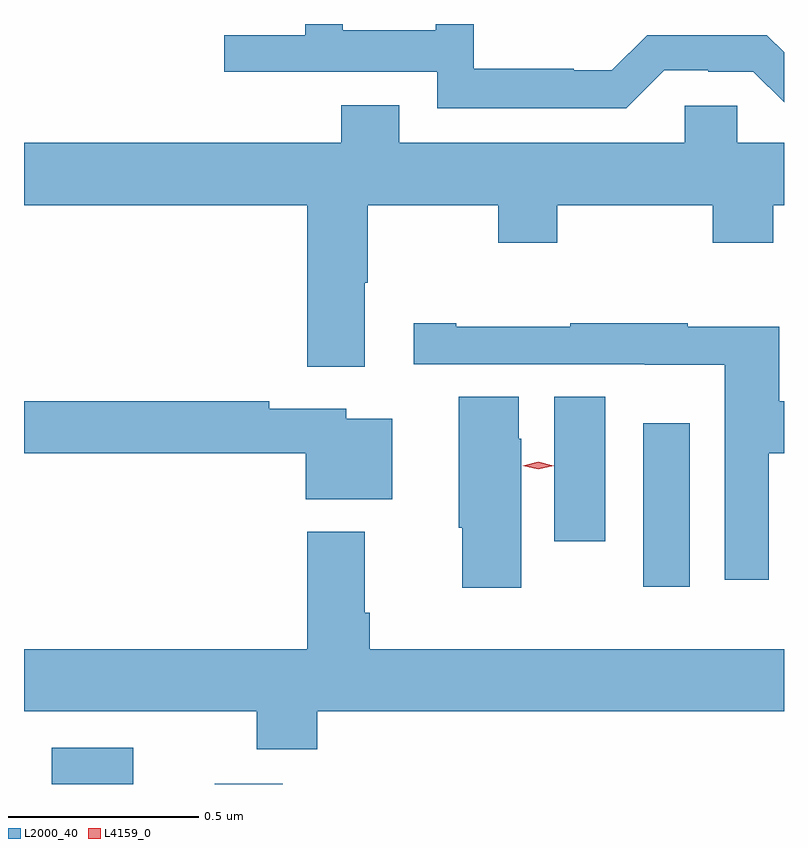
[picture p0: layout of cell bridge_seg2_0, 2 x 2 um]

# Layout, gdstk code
import gdstk
lib = gdstk.Library(unit=1e-6, precision=1e-09)
def R(c, l, rs):  # rectangles x0, y0, x1, y1
    for r in rs: c.add(gdstk.rectangle(r[:2], r[2:], *l))
def P(c, l, *ps):  # polygons
    for p in ps: c.add(gdstk.Polygon(p, *l))
L2000_40 = (2000, 40)
L4159_0 = (4159, 0)

bridge_seg2_0 = lib.new_cell('bridge_seg2_0')
R(bridge_seg2_0, L2000_40, [(749.885,635.457,750.1,635.553), (750.314,635.457,750.493,635.458), (751.442,635.976,751.564,636.406), (751.208,636.096,751.342,636.476)])
P(bridge_seg2_0, L2000_40, [(751.497,637.335),(751.613,637.335),(751.613,637.332),(751.731,637.332),(751.812,637.251),(751.812,637.383),(751.767,637.428),(751.452,637.428),(751.359,637.335),(751.259,637.335),(751.259,637.339),(750.996,637.339),(750.996,637.457),(750.895,637.457),(750.895,637.441),(750.651,637.441),(750.651,637.457),(750.552,637.457),(750.552,637.428),(750.339,637.428),(750.339,637.332),(750.9,637.332),(750.9,637.235),(751.397,637.235)],
  [(750.709,636.776),(750.717,636.776),(750.717,636.98),(751.06,636.98),(751.06,636.881),(751.215,636.881),(751.215,636.98),(751.624,636.98),(751.624,636.881),(751.784,636.881),(751.784,636.98),(751.812,636.98),(751.812,637.144),(751.689,637.144),(751.689,637.242),(751.551,637.242),(751.551,637.144),(750.799,637.144),(750.799,637.243),(750.647,637.243),(750.647,637.144),(749.812,637.144),(749.812,636.98),(750.557,636.98),(750.557,636.555),(750.709,636.555)],
  [(751.772,636.328),(751.812,636.328),(751.812,636.464),(751.799,636.464),(751.799,636.66),(751.559,636.66),(751.559,636.67),(751.249,636.67),(751.249,636.66),(750.949,636.66),(750.949,636.67),(750.837,636.67),(750.837,636.561),(751.446,636.561),(751.446,636.56),(751.656,636.56),(751.656,635.994),(751.772,635.994)],
  [(751.12,636.366),(751.114,636.366),(751.114,636.476),(750.956,636.476),(750.956,636.132),(750.965,636.132),(750.965,635.973),(751.12,635.973)],
  [(750.781,636.418),(750.66,636.418),(750.66,636.444),(750.458,636.444),(750.458,636.464),(749.812,636.464),(749.812,636.328),(750.554,636.328),(750.554,636.206),(750.781,636.206)],
  [(750.584,635.648),(751.812,635.648),(751.812,635.812),(750.722,635.812),(750.722,635.908),(750.709,635.908),(750.709,636.121),(750.557,636.121),(750.557,635.812),(749.812,635.812),(749.812,635.648),(750.424,635.648),(750.424,635.549),(750.584,635.549)])
P(bridge_seg2_0, L4159_0, [(751.165,636.285),(751.124,636.294),(751.124,636.295),(751.124,636.295),(751.165,636.305),(751.206,636.295),(751.206,636.295),(751.206,636.294)])

lib.write_gds('bridge_seg2_0.gds')
